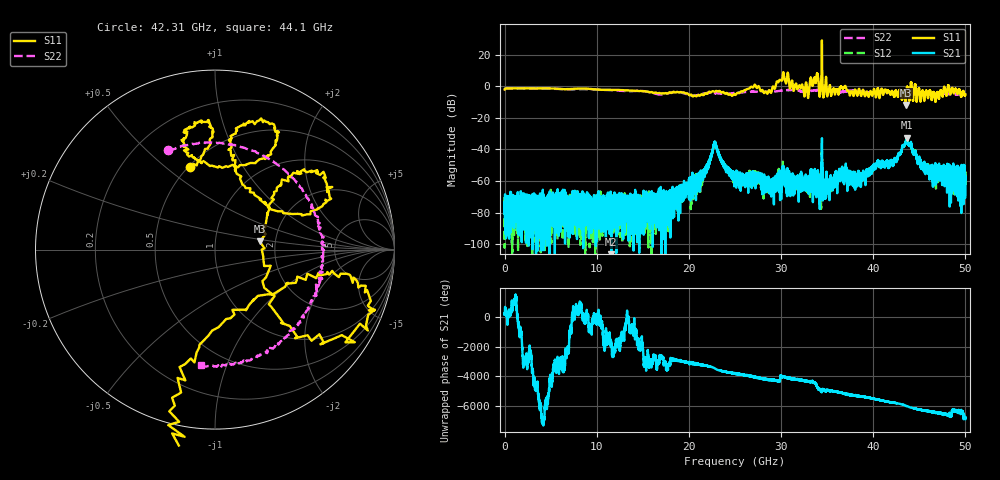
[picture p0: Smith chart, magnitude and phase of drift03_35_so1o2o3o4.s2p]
!Created with skrf (http://scikit-rf.org).
# Hz S RI R 50.0
!freq ReS11 ImS11 ReS21 ImS21 ReS12 ImS12 ReS22 ImS22
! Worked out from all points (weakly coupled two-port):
!   10000 points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, 5.3 MHz to 50 GHz, reference 50 ohm
!   highest |S21| = -32.56 dB at 43.64 GHz (marker M1); lowest = -119.9 dB at 11.58 GHz (marker M2)
!   lowest |S11| = -11.9 dB at 43.52 GHz (marker M3), VSWR 1.68, Z = 82.7 + j8.02 ohm
!   |S11| at or under -10 dB: 43.48742 GHz to 43.54405 GHz (56.63 MHz wide, 0.13 % of centre)
!   |S22| runs from -5.9 to -1.3 dB; largest |S21 - S12| = 0.013
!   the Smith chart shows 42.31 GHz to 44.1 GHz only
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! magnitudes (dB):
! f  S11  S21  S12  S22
! 5.3 MHz  -2.1  -80.1  -76.7  -2.1
! 8.34 GHz  -1.5  -78.8  -74.1  -1.9
! 11.58 GHz  -2.3  -119.9  -89.4  -2.5
! 16.67 GHz  -4.4  -77.1  -74.7  -5.2
! 21.01 GHz  -5.6  -62.0  -61.8  -5.5
! 21.95 GHz  -4.9  -51.9  -52.0  -4.3
! 22.81 GHz  -3.4  -35.5  -35.4  -4.4
! 25.01 GHz  -5.5  -56.4  -58.8  -4.3
! 27.02 GHz  -0.3  -55.9  -54.6  -3.5
! 28.72 GHz  -2.5  -67.7  -63.4  -3.6
! 30.14 GHz  4.4  -58.5  -59.1  -2.8
! 32.74 GHz  2.0  -56.9  -57.5  -3.3
! 33.34 GHz  2.6  -59.3  -56.8  -2.9
! 33.82 GHz  4.0  -58.0  -61.3  -2.5
! 34.96 GHz  -3.0  -56.8  -63.2  -2.4
! 36.46 GHz  -0.5  -55.7  -55.7  -3.5
! 38.11 GHz  -2.7  -57.6  -56.1  -2.8
! 41.67 GHz  -3.1  -51.8  -50.3  -3.7
! 43.52 GHz  -11.9  -35.6  -35.5  -4.2
! 43.64 GHz  -1.9  -32.6  -33.4  -4.0
! 46.24 GHz  -4.0  -52.4  -51.9  -5.4
! 50 GHz  -5.3  -57.9  -59.8  -5.0
